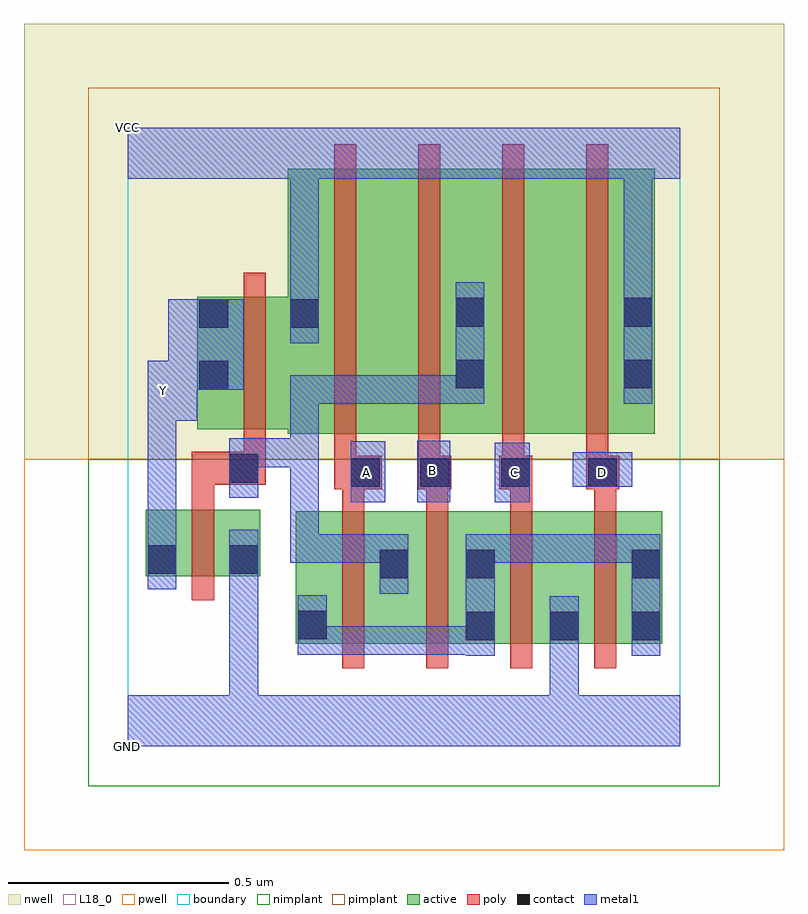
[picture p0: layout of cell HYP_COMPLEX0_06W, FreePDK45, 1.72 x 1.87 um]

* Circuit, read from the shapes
.subckt HYP_COMPLEX0_06W A B C D GND VCC Y
M1 GND n1 Y VSUBS nfet w=0.15u l=0.05u
M2 n1 A n2 VSUBS nfet w=0.3u l=0.05u
M3 n2 B n1 VSUBS nfet w=0.3u l=0.05u
M4 GND C n2 VSUBS nfet w=0.3u l=0.05u
M5 n2 D GND VSUBS nfet w=0.3u l=0.05u
M6 VCC n1 Y n3 pfet w=0.3u l=0.05u
M7 n4 A VCC n3 pfet w=0.6u l=0.05u
M8 n1 B n4 n3 pfet w=0.6u l=0.05u
M9 n5 C n1 n3 pfet w=0.6u l=0.05u
M10 VCC D n5 n3 pfet w=0.6u l=0.05u
.ends

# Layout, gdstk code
import gdstk
lib = gdstk.Library(unit=1e-6, precision=1e-09)
def R(c, l, rs):  # rectangles x0, y0, x1, y1
    for r in rs: c.add(gdstk.rectangle(r[:2], r[2:], *l))
def A(c, l, x, y, w, h, nx, ny, dx, dy):  # array of equal rectangles
    R(c, l, [(x+i*dx, y+j*dy, x+i*dx+w, y+j*dy+h) for i in range(nx) for j in range(ny)])
active = (1, 0)
pwell = (2, 0)
nwell = (3, 0)
nimplant = (4, 0)
pimplant = (5, 0)
poly = (9, 0)
contact = (10, 0)
metal1 = (11, 0)
L18_0 = (18, 0)
boundary = (235, 0)

hyp_complex0_06w = lib.new_cell('HYP_COMPLEX0_06W')
R(hyp_complex0_06w, active, [(0.38,0.232,0.64,0.532), (0.565,0.232,0.835,0.532), (0.76,0.232,1.025,0.532), (0.76,0.232,0.835,0.532), (0.95,0.232,1.21,0.532), (0.95,0.232,1.025,0.397), (0.38,0.235,0.455,0.532), (1.135,0.235,1.21,0.532), (0.565,0.295,0.64,0.45), (0.04,0.385,0.115,0.535), (0.04,0.385,0.3,0.535), (0.225,0.385,0.3,0.535), (0.362,0.707,0.587,1.307), (0.587,0.707,0.812,1.307), (0.737,0.707,0.967,1.307), (0.737,0.707,0.812,1.2), (0.967,0.707,1.192,1.307), (1.117,0.707,1.192,1.305), (0.157,0.717,0.232,1.017), (0.157,0.717,0.437,1.017), (0.362,0.792,0.437,1.017)])
R(hyp_complex0_06w, pwell, [(-0.235,-0.235,1.485,0.65)])
R(hyp_complex0_06w, nwell, [(-0.235,0.65,1.485,1.635)])
R(hyp_complex0_06w, nimplant, [(-0.09,-0.09,1.34,0.65)])
R(hyp_complex0_06w, pimplant, [(-0.09,0.65,1.34,1.49)])
A(hyp_complex0_06w, poly, 0.485, 0.177, 0.05, 0.41, 4, 1, 0.19, 0)
A(hyp_complex0_06w, poly, 0.485, 0.537, 0.05, 0.095, 4, 1, 0.19, 0)
A(hyp_complex0_06w, poly, 0.467, 0.607, 0.05, 0.095, 4, 1, 0.19, 0)
A(hyp_complex0_06w, poly, 0.467, 0.652, 0.05, 0.71, 4, 1, 0.19, 0)
R(hyp_complex0_06w, poly, [(0.145,0.33,0.195,0.59), (0.145,0.54,0.195,0.642), (0.467,0.582,0.575,0.657), (0.657,0.582,0.732,0.657), (0.84,0.582,0.915,0.657), (1.037,0.582,1.112,0.657), (0.145,0.592,0.312,0.667), (0.262,0.617,0.312,0.712), (0.262,0.662,0.312,1.072)])
R(hyp_complex0_06w, contact, [(0.765,0.24,0.83,0.305), (0.955,0.24,1.02,0.305), (1.14,0.24,1.205,0.305), (0.385,0.242,0.45,0.307), (0.57,0.38,0.635,0.445), (0.765,0.38,0.83,0.445), (1.14,0.38,1.205,0.445), (0.045,0.39,0.11,0.455), (0.23,0.39,0.295,0.455), (0.505,0.587,0.57,0.652), (0.662,0.587,0.727,0.652), (0.845,0.587,0.91,0.652), (1.042,0.587,1.107,0.652), (0.23,0.597,0.295,0.662), (0.162,0.807,0.227,0.872), (0.742,0.81,0.807,0.875), (1.122,0.81,1.187,0.875), (0.162,0.947,0.227,1.012), (0.367,0.947,0.432,1.012), (0.742,0.95,0.807,1.015), (1.122,0.95,1.187,1.015)])
R(hyp_complex0_06w, metal1, [(0,0,1.25,0.115), (0.23,0.05,0.295,0.115), (0.23,0.05,0.295,0.115), (0.23,0.05,0.295,0.115), (0.23,0.05,0.295,0.115), (0.23,0.05,0.295,0.115), (0.23,0.05,0.295,0.115), (0.23,0.05,0.295,0.42), (0.955,0.05,1.02,0.27), (0.765,0.205,0.83,0.48), (0.955,0.205,1.02,0.27), (0.955,0.205,1.02,0.27), (0.955,0.205,1.02,0.27), (0.955,0.205,1.02,0.27), (0.955,0.205,1.02,0.34), (1.14,0.205,1.205,0.48), (0.385,0.207,0.45,0.272), (0.385,0.207,0.45,0.272), (0.385,0.207,0.67,0.272), (0.385,0.207,0.45,0.342), (0.605,0.207,0.67,0.272), (0.605,0.207,0.67,0.272), (0.605,0.207,0.67,0.272), (0.605,0.207,0.83,0.272), (0.57,0.345,0.635,0.48), (0.045,0.355,0.11,0.49), (0.23,0.355,0.295,0.49), (0.367,0.415,0.432,0.48), (0.367,0.415,0.432,0.48), (0.367,0.415,0.432,0.48), (0.367,0.415,0.635,0.48), (0.367,0.415,0.432,0.697), (0.765,0.415,0.83,0.48), (0.765,0.415,0.83,0.48), (0.765,0.415,0.83,0.48), (0.765,0.415,0.83,0.48), (0.765,0.415,1.05,0.48), (0.985,0.415,1.05,0.48), (0.985,0.415,1.205,0.48), (1.14,0.415,1.205,0.48), (1.14,0.415,1.205,0.48), (0.045,0.425,0.11,0.802), (0.505,0.552,0.582,0.69), (0.655,0.552,0.73,0.692), (0.83,0.552,0.91,0.687), (0.23,0.562,0.295,0.697), (1.007,0.587,1.142,0.665), (0.23,0.632,0.295,0.697), (0.23,0.632,0.295,0.697), (0.23,0.632,0.432,0.697), (0.367,0.632,0.432,0.697), (0.367,0.632,0.432,0.84), (0.045,0.737,0.157,0.872), (0.367,0.775,0.432,0.84), (0.367,0.775,0.432,0.84), (0.367,0.775,0.432,0.84), (0.367,0.775,0.67,0.84), (0.605,0.775,0.67,0.84), (0.605,0.775,0.67,0.84), (0.605,0.775,0.67,0.84), (0.605,0.775,0.807,0.84), (0.742,0.775,0.807,1.05), (1.122,0.775,1.187,1.05), (0.092,0.807,0.157,0.872), (0.092,0.807,0.262,1.012), (0.367,0.912,0.432,1.047), (0.367,0.982,0.432,1.35), (1.122,0.985,1.187,1.35), (0,1.285,1.25,1.4)])
R(hyp_complex0_06w, L18_0, [(0,0,1.25,0.115), (0.23,0.05,0.295,0.115), (0.23,0.05,0.295,0.115), (0.23,0.05,0.295,0.115), (0.23,0.05,0.295,0.115), (0.23,0.05,0.295,0.115), (0.23,0.05,0.295,0.115), (0.23,0.05,0.295,0.42), (0.955,0.05,1.02,0.27), (0.955,0.205,1.02,0.34), (0.955,0.205,1.02,0.27), (0.955,0.205,1.02,0.27), (0.955,0.205,1.02,0.27), (0.955,0.205,1.02,0.27), (0.045,0.355,0.11,0.49), (0.23,0.355,0.295,0.49), (0.045,0.425,0.11,0.802), (0.505,0.552,0.582,0.69), (0.655,0.552,0.73,0.692), (0.83,0.552,0.91,0.687), (0.507,0.587,0.572,0.652), (0.842,0.587,0.907,0.652), (1.007,0.587,1.142,0.665), (1.042,0.587,1.107,0.652), (0.657,0.592,0.722,0.657), (0.045,0.737,0.157,0.872), (0.047,0.772,0.112,0.837), (1.122,0.775,1.187,1.05), (0.092,0.807,0.262,1.012), (0.092,0.807,0.157,0.872), (0.367,0.912,0.432,1.047), (0.367,0.982,0.432,1.35), (1.122,0.985,1.187,1.35), (0,1.285,1.25,1.4)])
R(hyp_complex0_06w, boundary, [(0,0,1.25,1.4)])
hyp_complex0_06w.add(gdstk.Label('A', (0.54,0.62), layer=11, texttype=0))
hyp_complex0_06w.add(gdstk.Label('B', (0.69,0.625), layer=11, texttype=0))
hyp_complex0_06w.add(gdstk.Label('C', (0.875,0.62), layer=11, texttype=0))
hyp_complex0_06w.add(gdstk.Label('D', (1.075,0.62), layer=11, texttype=0))
hyp_complex0_06w.add(gdstk.Label('Y', (0.08,0.805), layer=11, texttype=0))
hyp_complex0_06w.add(gdstk.Label('VCC', (0,1.4), layer=11, texttype=0))
hyp_complex0_06w.add(gdstk.Label('GND', (0,0), layer=11, texttype=0))

lib.write_gds('HYP_COMPLEX0_06W.gds')
